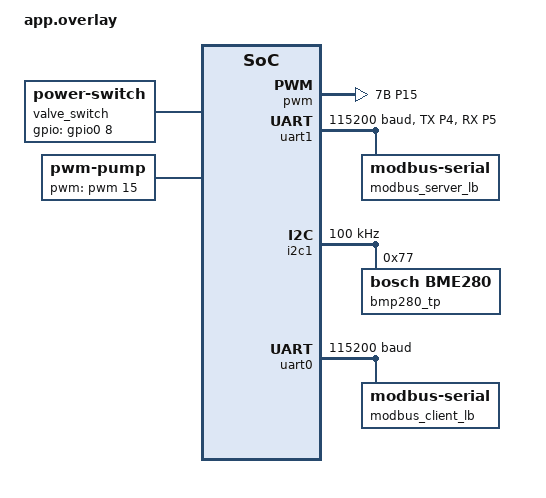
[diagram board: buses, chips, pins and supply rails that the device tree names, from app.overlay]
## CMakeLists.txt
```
cmake_minimum_required(VERSION 3.20.0)

find_package(Zephyr REQUIRED HINTS $ENV{ZEPHYR_BASE})
project(bnct_firmware)

target_sources(app PRIVATE
  src/mode.c
  src/modbus.c
  src/heartbeat.c
  src/status.c
  src/registers.c
  src/valve.c
  src/pump.c
)

target_sources_ifdef(CONFIG_BME280 app PRIVATE src/bmp280.c)
target_sources_ifdef(CONFIG_MFC_ACU20FD app PRIVATE src/mfc_acu20fd.c)
```

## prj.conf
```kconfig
CONFIG_UART_CONSOLE=n
CONFIG_USE_SEGGER_RTT=y
CONFIG_RTT_CONSOLE=y

# CONFIG_LOG=y
CONFIG_PRINTK=y

CONFIG_SERIAL=y
CONFIG_UART_INTERRUPT_DRIVEN=y
CONFIG_UART_LINE_CTRL=n

CONFIG_SENSOR=y
CONFIG_GPIO=y
CONFIG_PWM=y

CONFIG_MODBUS=y
CONFIG_MODBUS_ROLE_CLIENT_SERVER=y

CONFIG_POLL=y
CONFIG_MFC_ACU20FD=y
```

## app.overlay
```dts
&pinctrl{
  pwm_7bp15: pwm_7bp15{ group1{ pinmux = <PWM_7B_P15>; }; };
};

&pwm{
  status = "okay";
  pinctrl-0 = <&pwm_7bp15>;
  pinctrl-names = "default";
  divider-int-7 = <1>;
  divider-frac-7 = <0>;
};

&i2c0{
  status = "disabled";
};

&pinctrl{
  uart1_default: uart1_default{
    group1{ pinmux = <UART1_TX_P4>; };
    group2{ pinmux = <UART1_RX_P5>; input-enable;};
  };
};

&uart1{
  status = "okay";
  current-speed = <115200>;
  pinctrl-0 = <&uart1_default>;
  pinctrl-names = "default";
  modbus_server_lb: modbus_server{
    compatible = "zephyr,modbus-serial";
    status = "okay";
  };
};


&i2c1{
  status = "okay";
  pinctrl-0 = <&i2c1_default>;
  pinctrl-names = "default";
  clock-frequency = <I2C_BITRATE_STANDARD>;

  bmp280_tp@77{
    compatible = "bosch,bme280";
    reg = <0x77>;
    status = "okay";
  };
};

&uart0{
  status = "okay";
  current-speed = <115200>;
  pinctrl-0 = <&uart0_default>;
  pinctrl-names = "default";
  modbus_client_lb: modbus_client{
    compatible = "zephyr,modbus-serial";
    status = "okay";
  };
};

/{
  valve_switch: valve_switch{
    compatible = "power-switch";
    status = "okay";
    gpios = <&gpio0 8 (GPIO_PULL_UP | GPIO_ACTIVE_HIGH)>;
  };

  pump: pump{
    compatible = "pwm-pump";
    status = "okay";
    pwms = <&pwm 15 PWM_USEC(50) PWM_POLARITY_INVERTED>;
    min-pulse = <PWM_USEC(10)>;
    max-pulse = <PWM_USEC(50)>;
    default-speed = <140>; // 0.14 of full-speed
  };

  aliases {
    modbus-client = &modbus_client_lb;
    modbus-server = &modbus_server_lb;
  };
};
```

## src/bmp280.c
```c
#include "common.h"

#include <zephyr/device.h>
#include <zephyr/drivers/sensor.h>
#include <zephyr/kernel.h>

#define BMP280_NODE DT_COMPAT_GET_ANY_STATUS_OKAY(bosch_bme280)
static const struct device *dev;

/* status polling handler */
static void bmp280_poll() {
  struct sensor_value temp, pressure;
  sensor_sample_fetch(dev);

  // [todo] value interpretation to be confirmed
  sensor_channel_get(dev, SENSOR_CHAN_AMBIENT_TEMP, &temp);
  holding_reg[REG_TEMPERATURE_DEC]->value = temp.val1 & BIT_MASK(16);
  holding_reg[REG_TEMPERATURE_FRA]->value = temp.val2 & BIT_MASK(16); // = flt/1000000

  sensor_channel_get(dev, SENSOR_CHAN_PRESS, &pressure);
  holding_reg[REG_PRESSURE_DEC]->value = pressure.val1 & BIT_MASK(16);
  holding_reg[REG_PRESSURE_FRA]->value = pressure.val2 & BIT_MASK(16); // = flt/1000000

  return;
}

POLL_HANDLER_DEFINE(bmp280_poll, bmp280_poll);

//
static int bmp280_init(void) {
  coil_reg[COIL_STATUS_BMP280]->value = false;

  dev = DEVICE_DT_GET(BMP280_NODE);
  if (!device_is_ready(dev)) {
    printk("\nError: Device \"%s\" is not ready; "
           "check the driver initialization logs for errors.\n",
           dev->name);
    return -ENOENT;
  }
  coil_reg[COIL_STATUS_BMP280]->value = true;

  return 0;
}

SYS_INIT(bmp280_init, POST_KERNEL, CONFIG_APPLICATION_INIT_PRIORITY);
```

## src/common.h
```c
#pragma once

#include "modbus_ifc.h"
#include <iterables/callback.h>
#include <iterables/register.h>

extern struct holding_register_t *holding_reg[REG_END];
extern struct coil_register_t *coil_reg[COIL_END];
```

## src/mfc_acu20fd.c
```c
#include "common.h"
#include <gasflow/acu20fd.h>

#include <zephyr/kernel.h>
#include <zephyr/modbus/modbus.h>

// modbus commuinication rx timeout (us)
#define MBC_RX_TIMEOUT 500000
#define ACU20FD_UINIT_ID 1

// modbus interface handle
static int mbc_iface;
static const uint8_t mbc_uid = ACU20FD_UINIT_ID;

/* poll pv */
static void mfc_acu20fd_poll() {
  uint16_t buf[2];
  if (!acu20fd_get_pv(mbc_iface, mbc_uid, buf)) {
    holding_reg[REG_MFC_RATE_PV]->value = buf[0];
    holding_reg[REG_MFC_RATE_PV + 1]->value = buf[1];
  }
  return;
}

POLL_HANDLER_DEFINE(acu20fd_poll, mfc_acu20fd_poll);

/* set pv */
static void mfc_acu20fd_holding_handler(uint16_t addr) {

  if ((addr == REG_MFC_RATE_SV || addr == (REG_MFC_RATE_SV+1)) && 
      (coil_reg[COIL_ONOFF_MFC]->value)) {
    uint16_t buf[2] = {holding_reg[REG_MFC_RATE_SV]->value,
                       holding_reg[REG_MFC_RATE_SV + 1]->value};

    coil_reg[COIL_STATUS_LATEST]->value =
        (acu20fd_set_pv(mbc_iface, mbc_uid, buf) < 0) ? false : true;
  }

  return;
}

HOLDING_REG_HANDLER_DEFINE(acu20fd_holding, mfc_acu20fd_holding_handler);

/* turn on/off mfc */
static void mfc_acu20fd_coil_handler(uint16_t addr) {

  switch (addr) {
  case COIL_ONOFF_MFC:
    uint16_t buf[2] = {0, 0};
    if (coil_reg[COIL_ONOFF_MFC]->value) {
        buf[0] = holding_reg[REG_MFC_RATE_SV]->value;
        buf[1] = holding_reg[REG_MFC_RATE_SV + 1]->value;
    };
    coil_reg[COIL_STATUS_LATEST]->value =
        (acu20fd_set_pv(mbc_iface, mbc_uid, buf) < 0) ? false : true;


    break;
  case COIL_DEFAULT_RATE_MFC:
    holding_reg[REG_MFC_RATE_SV]->value =
        holding_reg[REG_MFC_RATE_DEFAULT]->value;
    holding_reg[REG_MFC_RATE_SV + 1]->value =
        holding_reg[REG_MFC_RATE_DEFAULT + 1]->value;
    break;
  default:
    break;
  }

  return;
}

COIL_REG_HANDLER_DEFINE(acu20fd_coil, mfc_acu20fd_coil_handler);

/* modus interface to acu20fd (a client) */
const static struct modbus_iface_param mbc_param = {
    .mode = MODBUS_MODE_RTU,
    .rx_timeout = MBC_RX_TIMEOUT,
    .serial = {.baud = 115200,
               .parity = UART_CFG_PARITY_NONE,
               .stop_bits_client = UART_CFG_STOP_BITS_1}};

#define MODBUS_CLIENT_NODE DT_ALIAS(modbus_client)

static int mbc_init(void) {
  char const iface_name[] = {DEVICE_DT_NAME(MODBUS_CLIENT_NODE)};

  mbc_iface = modbus_iface_get_by_name(iface_name);
  if (mbc_iface < 0) {
    printk("Failed to get iface index for %s\n", iface_name);
    return mbc_iface;
  }

  return modbus_init_client(mbc_iface, mbc_param);
}

//
static int mfc_acu20fd_init(void) {

  coil_reg[COIL_STATUS_MFC]->value = false;

  int err = mbc_init();
  if (err < 0) {
    printk("Modbus RTU client initialization failed\n");
    return err;
  }

  // needed for mfc power-up
  k_msleep(1000);

  err = acu20fd_init(mbc_iface, mbc_uid, true);
  if (err < 0) {
    printk("Setting ACU20FD digit mode failed\n");
    return err;
  }
  coil_reg[COIL_STATUS_MFC]->value = true;

  // [todo] better method?
  holding_reg[REG_MFC_RATE_SV]->value = 0;
  holding_reg[REG_MFC_RATE_SV + 1]->value = 16928;
  holding_reg[REG_MFC_RATE_DEFAULT]->value = 0;
  holding_reg[REG_MFC_RATE_DEFAULT + 1]->value = 16928;

  return 0;
}

SYS_INIT(mfc_acu20fd_init, POST_KERNEL, CONFIG_APPLICATION_INIT_PRIORITY);
```

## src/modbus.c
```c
/*
 * Init and start the modbus server.
 * - this is the last step in firmware start-up
 * - the actual work in response to coil & register changes is dispatched to system work queue immediately
 * - coil & register reading return the current status of internal registers (see modbus_ifc.h for all available registers)
 *
 */

#include "common.h"

#include <zephyr/drivers/sensor.h>
#include <zephyr/kernel.h>
#include <zephyr/modbus/modbus.h>
#include <zephyr/sys/printk.h>
#include <zephyr/sys/util.h>

////// k_work to process coil/register commands
struct ctrl_cmd_t {
  struct k_work work;
  uint16_t addr;
};

static struct ctrl_cmd_t coil_cmd = {.addr = ARRAY_SIZE(coil_reg)};
void coil_work_handler(struct k_work *item) {
  struct ctrl_cmd_t *the_cmd = CONTAINER_OF(item, struct ctrl_cmd_t, work);
  COIL_REG_HANDLER_FOREACH(handler) { handler->callback(the_cmd->addr); }

  return;
}

static struct ctrl_cmd_t register_cmd = {.addr = ARRAY_SIZE(holding_reg)};
void holding__work_handler(struct k_work *item) {
  struct ctrl_cmd_t *the_cmd = CONTAINER_OF(item, struct ctrl_cmd_t, work);
  HOLDING_REG_HANDLER_FOREACH(handler) { handler->callback(the_cmd->addr); }

  return;
}

static int coil_rd(uint16_t addr, bool *state) {
  if (addr >= ARRAY_SIZE(coil_reg)) {
    return -ENOTSUP;
  }

  *state = coil_reg[addr]->value;
  printk("Coil read, addr %u, %d", addr, (int)*state);


  return 0;
}

static int coil_wr(uint16_t addr, bool state) {
  if (addr >= ARRAY_SIZE(coil_reg)) {
    return -ENOTSUP;
  }

  // cmds without effects, just return
  if (state == coil_reg[addr]->value &&
      (addr != COIL_DEFAULT_SPEED_PUMP || addr != COIL_DEFAULT_RATE_MFC)) {
    return 0;
  }

  //
  coil_reg[addr]->value=state;

  coil_cmd.addr = addr;
  k_work_submit(&coil_cmd.work);

  printk("Coil write, addr %u, %d", addr, (int)state);

  return 0;
}

static int holding_reg_rd(uint16_t addr, uint16_t *reg) {
  if (addr >= ARRAY_SIZE(holding_reg)) {
    return -ENOTSUP;
  }

  *reg = holding_reg[addr]->value;

  printk("Holding register read, addr %u", addr);

  return 0;
}

static int holding_reg_wr(uint16_t addr, uint16_t reg) {
  if (addr >= ARRAY_SIZE(holding_reg)) {
    return -ENOTSUP;
  }

  // cmds without effects, just return
  if (reg == holding_reg[addr]->value) {
    return 0;
  }

  if (addr == REG_PUMP_SPEED_SV &&
      (reg < holding_reg[REG_PUMP_SPEED_MIN]->value ||
       reg > holding_reg[REG_PUMP_SPEED_MAX]->value))
    return -ENOTSUP;

  //
  holding_reg[addr]->value = reg;

  register_cmd.addr = addr;
  k_work_submit(&register_cmd.work);

  printk("Holding register write, addr %u", addr);

  return 0;
}

static struct modbus_user_callbacks mbs_cbs = {
    .coil_rd = coil_rd,
    .coil_wr = coil_wr,
    .holding_reg_rd = holding_reg_rd,
    .holding_reg_wr = holding_reg_wr,
};

const static struct modbus_iface_param server_param = {
    .mode = MODBUS_MODE_RTU,
    .server =
        {
            .user_cb = &mbs_cbs,
            .unit_id = 1,
        },
    .serial =
        {
            .baud = 19200,
            .parity = UART_CFG_PARITY_NONE,
        },
};

#define MODBUS_NODE DT_ALIAS(modbus_server)

static int init_server(void) {
  const char iface_name[] = {DEVICE_DT_NAME(MODBUS_NODE)};
  int iface;

  iface = modbus_iface_get_by_name(iface_name);

  if (iface < 0) {
    printk("Failed to get iface index for %s", iface_name);
    return iface;
  }

  return modbus_init_server(iface, server_param);
}

//
static int modbus_init(void) 
{
  coil_reg[COIL_STATUS_MODBUS]->value = false;

  k_work_init(&coil_cmd.work, coil_work_handler);
  k_work_init(&register_cmd.work, holding__work_handler);

  int err = init_server();
  if (err < 0) {
    printk("Modbus RTU server initialization failed");
    return err;
  }
  coil_reg[COIL_STATUS_MODBUS]->value = true;

  return 0;
}

SYS_INIT(modbus_init, APPLICATION, CONFIG_APPLICATION_INIT_PRIORITY);
```

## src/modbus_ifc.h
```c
#pragma once

/*** holding registers ***/

// MFC rate in flow-state (2 words)
// default rate is read-only
#define REG_MFC_RATE_SV 0
#define REG_MFC_RATE_DEFAULT 2
#define REG_MFC_RATE_PV 4

// pump speed in recycle-state (1 word, unit: permil of full-speed)
// default speed is read-only
#define REG_PUMP_SPEED_SV 6
#define REG_PUMP_SPEED_DEFAULT 7
#define REG_PUMP_SPEED_PV 8
#define REG_PUMP_SPEED_MIN 9
#define REG_PUMP_SPEED_MAX 10

// others
#define REG_TEMPERATURE_DEC 11
#define REG_TEMPERATURE_FRA 12
#define REG_PRESSURE_DEC 13
#define REG_PRESSURE_FRA 14

// working modes, valid values:
// - 1 -> flow-mode,
// - 2 -> recycle-mode
// - 3 -> mix-mode (auto switching between flow & recycle)
#define REG_SET_MODE 15
#define REG_CUR_MODE 16
#define REG_CUR_STATE 17
// duration of flow & recycle state in mix-mode (unit:s)
#define REG_FLOW_DURATION 18
#define REG_RECYCLE_DURATION 19

// status polling interval (in ms)
#define REG_UPDATE_INTERVAL 20

// system alive time (high-16 bits & low-16 bits)
#define REG_HEARTBEAT_LW 21
#define REG_HEARTBEAT_HI 22

#define REG_END 23

/*** coils ***/

/// control command
#define COIL_ONOFF_MFC 0
#define COIL_ONOFF_PUMP 1
#define COIL_ONOFF_VALVE 2

/// reset command
#define COIL_DEFAULT_SPEED_PUMP 3
#define COIL_DEFAULT_SPEED_MFC 4

#define COIL_END 5
```

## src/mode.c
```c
/*
 * Infinite loop of switching between 3 working modes in response to latest
 * mode-switching:
 *   - flow
 *   - recycle
 *   - mixed : automatic switching between flow and recycle
 *
 * The power-on default state is: flow-mode
 *
 */

#include "common.h"

#include <zephyr/kernel.h>

#define DEFAULT_FLOW_DURATION 300
#define DEFAULT_RECYCLE_DURATION 1200

/* mode-switching signal facility */
static struct k_poll_signal mode_sig = K_POLL_SIGNAL_INITIALIZER(mode_sig);
static struct k_poll_event mode_event = K_POLL_EVENT_INITIALIZER(
    K_POLL_TYPE_SIGNAL, K_POLL_MODE_NOTIFY_ONLY, &mode_sig);

static void mode_holding_register_handler(uint16_t addr) {
  if (addr != REG_SET_MODE)
    return;

  // lock & raise signal
  k_poll_signal_raise(mode_event.signal, 0);
}

HOLDING_REG_HANDLER_DEFINE(mode_holding_reg, mode_holding_register_handler);

/* working mode setup functions */
enum working_mode {
  DEFAULT_MODE = 0, // not used yet
  FLOW_MODE,        // current power-on default
  RECYCLE_MODE,
  MIX_MODE
};

enum working_state {
  INVALID_STATE = 0,
  FLOW_STATE,
  RECYCLE_STATE
};

inline static void lock_state()
{
  k_mutex_lock(&coil_reg[COIL_ONOFF_PUMP]->mutex, K_FOREVER);
  k_mutex_lock(&coil_reg[COIL_ONOFF_MFC]->mutex, K_FOREVER);
  k_mutex_lock(&coil_reg[COIL_ONOFF_VALVE]->mutex, K_FOREVER);

  k_mutex_lock(&holding_reg[REG_CUR_STATE]->mutex, K_FOREVER);
}

inline static void unlock_state() {
  k_mutex_unlock(&coil_reg[COIL_ONOFF_PUMP]->mutex);
  k_mutex_unlock(&coil_reg[COIL_ONOFF_MFC]->mutex);
  k_mutex_unlock(&coil_reg[COIL_ONOFF_VALVE]->mutex);

  k_mutex_unlock(&holding_reg[REG_CUR_STATE]->mutex);
}

inline static void setup_flow_state() {
  lock_state();
  
  // 1. stop pump
  coil_reg[COIL_ONOFF_PUMP]->value = false;
  COIL_REG_HANDLER_FOREACH(handler) { handler->callback(COIL_ONOFF_PUMP); }

  // 2. turn on MFC
  coil_reg[COIL_ONOFF_MFC]->value = true;
  COIL_REG_HANDLER_FOREACH(handler) { handler->callback(COIL_ONOFF_MFC); }

  // 3. open valve
  coil_reg[COIL_ONOFF_VALVE]->value = true;
  COIL_REG_HANDLER_FOREACH(handler) { handler->callback(COIL_ONOFF_VALVE); }

  // 4. update current state
  holding_reg[REG_CUR_STATE]->value = FLOW_STATE;

  unlock_state();
}

inline static void setup_recycle_state() {
  lock_state();
  
  // 1. close valve
  coil_reg[COIL_ONOFF_VALVE]->value = false;
  COIL_REG_HANDLER_FOREACH(handler) { handler->callback(COIL_ONOFF_VALVE); }

  // 2. turn off MFC
  coil_reg[COIL_ONOFF_MFC]->value = false;
  COIL_REG_HANDLER_FOREACH(handler) { handler->callback(COIL_ONOFF_MFC); }

  // 3. start pump
  coil_reg[COIL_ONOFF_PUMP]->value = true;
  COIL_REG_HANDLER_FOREACH(handler) { handler->callback(COIL_ONOFF_PUMP); }

  // 4. update current state
  holding_reg[REG_CUR_STATE]->value = RECYCLE_STATE;

  unlock_state();
}

inline static void setup_mode(enum working_mode mode) {
  k_mutex_lock(&holding_reg[REG_CUR_MODE]->mutex, K_FOREVER);
  holding_reg[REG_CUR_MODE]->value = mode;
  k_mutex_unlock(&holding_reg[REG_CUR_MODE]->mutex);
}

/* mix-mode timer */
static struct k_timer to_flow_mode_timer;
static struct k_timer to_recycle_mode_timer;

static void to_flow_mode_timer_callback(struct k_timer *timer) {
  setup_flow_state();
  k_timer_start(&to_recycle_mode_timer, // one-shot timer
                K_SECONDS(holding_reg[REG_FLOW_DURATION]->value), K_NO_WAIT);
  return;
}

static void to_recycle_mode_timer_callback(struct k_timer *timer) {
  setup_recycle_state();
  k_timer_start(&to_flow_mode_timer, // one-shot timer
                K_SECONDS(holding_reg[REG_RECYCLE_DURATION]->value), K_NO_WAIT);
  return;
}

inline static void setup_mix_mode() {
  if (holding_reg[REG_CUR_STATE]->value == FLOW_STATE) {
    to_recycle_mode_timer_callback(NULL);
  } else {
    to_flow_mode_timer_callback(NULL);
  }

  return;
}

/* main thread: polling the current working mode status in an infinite loop */

int main(void) {

  /* power-on mode init: flow-mode */
  holding_reg[REG_SET_MODE]->value = FLOW_MODE;
  setup_flow_state();
  setup_mode(FLOW_MODE);

  /* init timer for mix-mode's auto-switching */
  holding_reg[REG_FLOW_DURATION]->value = DEFAULT_FLOW_DURATION;
  holding_reg[REG_RECYCLE_DURATION]->value = DEFAULT_RECYCLE_DURATION;

  k_timer_init(&to_flow_mode_timer, to_flow_mode_timer_callback, NULL);
  k_timer_init(&to_recycle_mode_timer, to_recycle_mode_timer_callback, NULL);

  /* start polling mode change */
  while (1) {

    // receiving cmd setting new mode
    k_poll(&mode_event, 1, K_FOREVER);

    unsigned int signaled;
    int result;
    k_poll_signal_check(mode_event.signal, &signaled, &result);

    if (signaled == 0)
      continue;

    // switch to new working mode
    if (holding_reg[REG_CUR_MODE]->value == MIX_MODE) {
      k_timer_stop(&to_flow_mode_timer);
      k_timer_stop(&to_recycle_mode_timer);
    }

    switch (holding_reg[REG_SET_MODE]->value) {
    case FLOW_MODE:
      setup_flow_state();
      setup_mode(FLOW_MODE);
      break;
    case RECYCLE_MODE:
      setup_recycle_state();
      setup_mode(RECYCLE_MODE);
      break;
    case MIX_MODE:
      setup_mix_mode();
      setup_mode(MIX_MODE);
      break;
    default:
      break;
    }

    // ready for next mode-switching
    k_poll_signal_reset(mode_event.signal);
    mode_event.state = K_POLL_STATE_NOT_READY;
  }

  return 0;
}
```

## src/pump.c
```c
#include "common.h"

#include <zephyr/devicetree/pwms.h>
#include <zephyr/drivers/pwm.h>
#include <zephyr/kernel.h>

#if !DT_NODE_EXISTS(DT_NODELABEL(pump))
#error "compiler: dts node with lablel pump not defined"
#else
#define PUMP_NODE DT_NODELABEL(pump)
#endif

static const struct pwm_dt_spec pump = PWM_DT_SPEC_GET(PUMP_NODE);
static const uint32_t period = DT_PWMS_PERIOD(PUMP_NODE);
static const uint32_t step = period / 1000; // per mille
static const uint32_t min_speed = DT_PROP(PUMP_NODE, min_pulse) / step; //  < min_pulse = turn-off pump
static const uint32_t max_speed = DT_PROP(PUMP_NODE, max_pulse) / step;
static const uint32_t default_speed = DT_PROP(PUMP_NODE, default_speed); // unit: permil, i.e. 1/1000

// [todo] poll handler (present speed: REG_PUMP_SPEED_PV)

// coil handler
static void pump_coil_register_handler(uint16_t addr) {

  switch (addr) {
  case COIL_ONOFF_PUMP:
    pwm_set_pulse_dt(&pump, coil_reg[COIL_ONOFF_PUMP]->value
                                ? holding_reg[REG_PUMP_SPEED_SV]->value * step
                                : 0);
    break;
  case COIL_DEFAULT_SPEED_PUMP:
    holding_reg[REG_PUMP_SPEED_SV]->value = default_speed;
    break;
  default:
    break;
  }

  return;
}

COIL_REG_HANDLER_DEFINE(pump_coil_reg, pump_coil_register_handler);

// holding register handler
static void pump_holding_register_handler(uint16_t addr) {
  if (addr == REG_PUMP_SPEED_SV && coil_reg[COIL_ONOFF_PUMP]->value) {
      pwm_set_pulse_dt(&pump, holding_reg[REG_PUMP_SPEED_SV]->value * step);
  }


  return;
}

HOLDING_REG_HANDLER_DEFINE(pump_holding_reg, pump_holding_register_handler);

// init
static int pump_init(void) {
  coil_reg[COIL_STATUS_PUMP]->value = false;

  if (!pwm_is_ready_dt(&pump)) {
    printk("The pump is not ready.\n");
    return -ENOENT;
  }
  coil_reg[COIL_STATUS_PUMP]->value = true;

  holding_reg[REG_PUMP_SPEED_SV]->value = default_speed;
  holding_reg[REG_PUMP_SPEED_DEFAULT]->value = default_speed;
  holding_reg[REG_PUMP_SPEED_MIN]->value = min_speed;
  holding_reg[REG_PUMP_SPEED_MAX]->value = max_speed;

  return 0;
}

SYS_INIT(pump_init, POST_KERNEL, CONFIG_APPLICATION_INIT_PRIORITY);
```

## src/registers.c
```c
#include "common.h"

#include <zephyr/sys/util.h>

/* define the internal registers */
// [todo] over-skilled, better use STRUCT_SECTION_ITERABLE_ARRAY
LISTIFY(REG_END, HOLDING_REG_DEFINE, (;), 0);
LISTIFY(COIL_END, COIL_REG_DEFINE, (;), false);

/* these global pointers as stubs to internal registers */
// [todo] ugly, define a macro for in-place fetching as needed (see zephyr's
// device.h impl)
struct holding_register_t *holding_reg[REG_END];
struct coil_register_t *coil_reg[COIL_END];

// initialize stub register pointers
static int registers_init(void) {
  for (int i = 0; i < REG_END; i++) {
    STRUCT_SECTION_GET(holding_register_t, i, holding_reg + i);
    k_mutex_init(&holding_reg[i]->mutex);
  }
  for (int i = 0; i < COIL_END; i++) {
    STRUCT_SECTION_GET(coil_register_t, i, coil_reg + i);
    k_mutex_init(&coil_reg[i]->mutex);
  }
  return 0;
}

SYS_INIT(registers_init, POST_KERNEL, CONFIG_APPLICATION_INIT_PRIORITY);
```

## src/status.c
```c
#include "common.h"
#include <zephyr/kernel.h>

// in ms
#define STATUS_UPDATE_PERIOD 1000

/* work handler for polling timer */
static void status_work_handler(struct k_work *work) {
  POLL_HANDLER_FOREACH(handler) { handler->callback(); }

  return;
}

K_WORK_DEFINE(status_work, status_work_handler);

static void status_timer_callback(struct k_timer *timer) {
  /* immediately submit to system work queue */
  k_work_submit(&status_work);
}

static K_TIMER_DEFINE(status_timer, status_timer_callback, NULL);

/* holding register handler */
static void status_holding_register_handler(uint16_t addr) {
  if (addr == REG_UPDATE_INTERVAL) {
    k_timer_start(&status_timer, K_NO_WAIT, K_MSEC(holding_reg[addr]->value));
  }
  return;
}

HOLDING_REG_HANDLER_DEFINE(status_holding_reg, status_holding_register_handler);

/* start the timer */
static int status_init(void) {
  holding_reg[REG_UPDATE_INTERVAL]->value = STATUS_UPDATE_PERIOD;

  k_timer_start(&status_timer, K_NO_WAIT,
                K_MSEC(holding_reg[REG_UPDATE_INTERVAL]->value));

  return 0;
}

SYS_INIT(status_init, APPLICATION, CONFIG_APPLICATION_INIT_PRIORITY);
```

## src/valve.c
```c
#include "common.h"

#include <zephyr/drivers/gpio.h>
#include <zephyr/kernel.h>

#if !DT_NODE_EXISTS(DT_NODELABEL(valve_switch))
#error "compiler: dts node with lablel valve_switch not defined"
#else
#define VALVE_NODE DT_NODELABEL(valve_switch)
#endif

static const struct gpio_dt_spec valve = GPIO_DT_SPEC_GET(VALVE_NODE, gpios);

static void valve_coil_register_handler(uint16_t addr) {
  if (addr == COIL_ONOFF_VALVE) {
    gpio_pin_configure_dt(&valve, coil_reg[COIL_ONOFF_VALVE]->value
                                      ? GPIO_OUTPUT_ACTIVE
                                      : GPIO_OUTPUT_INACTIVE);
  }

  return;
}

COIL_REG_HANDLER_DEFINE(valve_coil_reg, valve_coil_register_handler);

static int valve_init(void) {
  coil_reg[COIL_STATUS_VALVE]->value = false;

  if (!gpio_is_ready_dt(&valve)) {
    printk("The valve GPIO port is not ready.\n");
    return -ENOENT;
  }
  coil_reg[COIL_STATUS_VALVE]->value = true;

  return 0;
}

SYS_INIT(valve_init, POST_KERNEL, CONFIG_APPLICATION_INIT_PRIORITY);
```
